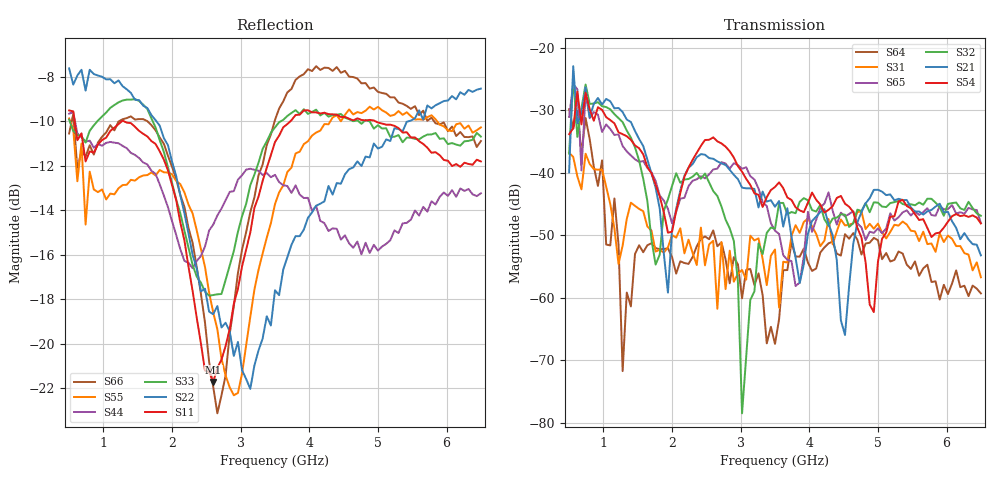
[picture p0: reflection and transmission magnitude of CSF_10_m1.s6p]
!Keysight Technologies,M9804A,MY58100912,A.14.10.03
!Date: Thursday, April 27, 2023 10:28:33
!Correction: S11(C  6-Port  )
!S12(C  6-Port  )
!S13(C  6-Port  )
!S14(C  6-Port  )
!S15(C  6-Port  )
!S16(C  6-Port  )
!S21(C  6-Port  )
!S22(C  6-Port  )
!S23(C  6-Port  )
!S24(C  6-Port  )
!S25(C  6-Port  )
!S26(C  6-Port  )
!S31(C  6-Port  )
!S32(C  6-Port  )
!S33(C  6-Port  )
!S34(C  6-Port  )
!S35(C  6-Port  )
!S36(C  6-Port  )
!S41(C  6-Port  )
!S42(C  6-Port  )
!S43(C  6-Port  )
!S44(C  6-Port  )
!S45(C  6-Port  )
!S46(C  6-Port  )
!S51(C  6-Port  )
!S52(C  6-Port  )
!S53(C  6-Port  )
!S54(C  6-Port  )
!S55(C  6-Port  )
!S56(C  6-Port  )
!S61(C  6-Port  )
!S62(C  6-Port  )
!S63(C  6-Port  )
!S64(C  6-Port  )
!S65(C  6-Port  )
!S66(C  6-Port  )
!S6P File: Measurement: :
# Hz S  RI  R 50
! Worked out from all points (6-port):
!   101 points, 500 MHz to 6.5 GHz, reference 50 ohm
!   strongest paths, dB at 500 MHz, 2 GHz, 3.5 GHz, 5 GHz, 6.5 GHz:
!     S54: -33.8, -49.4, -42.2, -54.2, -48.1
!     S21: -39.9, -49.1, -45.4, -42.7, -53.2
!     S32: -36.9, -42.1, -48.9, -44.7, -46.8
!     S65: -31.0, -48.0, -49.2, -48.9, -48.0
!     S31: -36.8, -49.9, -52.2, -48.1, -56.7
!     S64: -29.8, -53.5, -67.3, -50.8, -59.3
!   lowest |S11| = -21.7 dB at 2.6 GHz (marker M1), VSWR 1.18, Z = 42.7 + j1.96 ohm
!   |S11| at or under -10 dB: 581 MHz to 1.266 GHz (684.5 MHz wide, 74.1 % of centre); 1.305 GHz to 3.72 GHz (2.415 GHz wide, 96.1 % of centre); 4.969 GHz to end of sweep
